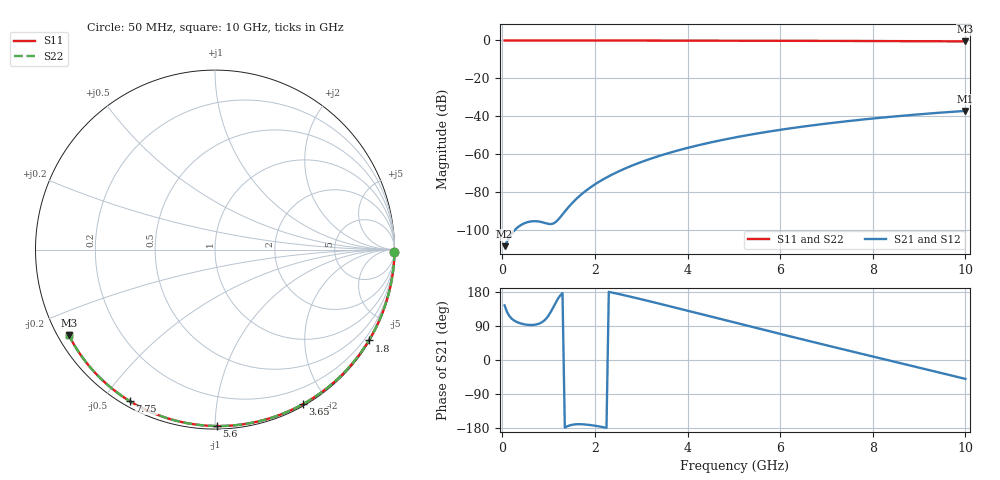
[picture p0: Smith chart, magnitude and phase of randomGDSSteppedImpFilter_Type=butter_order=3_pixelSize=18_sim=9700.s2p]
! freq	dB(S11)	phase(S11)	dB(S12)	phase(S12)
!  dB(S21)	phase(S21)	dB(S22)	phase(S22)
!S-par simulation data
#  GHz  S  DB  R 50
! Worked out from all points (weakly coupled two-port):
!   200 points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, 50 MHz to 10 GHz, reference 50 ohm
!   highest |S21| = -37.17 dB at 10 GHz (marker M1); lowest = -108.5 dB at 50 MHz (marker M2)
!   lowest |S11| = -0.5 dB at 10 GHz (marker M3), VSWR 34.53, Z = 1.55 - j13.5 ohm
!   |S11| at or under -10 dB: nowhere
!   |S22| runs from -0.5 to 0.0 dB; largest |S21 - S12| = 0
!   S11 on the Smith chart (normalised r, x): 50 MHz: open; 1.8 GHz: 0.03, -3.66; 3.65 GHz: 0.02, -1.72; 5.6 GHz: 0.02, -1.01; 7.75 GHz: 0.02, -0.59; 10 GHz: 0.03, -0.27
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0.05  -0.00 -0.9  -108.53 144.1  -108.53 144.1  -0.00 -0.9
0.45  -0.01 -7.8  -96.76 94.8  -96.76 94.8  -0.01 -7.8
0.9  -0.02 -15.4  -96.16 103.6  -96.16 103.6  -0.02 -15.4
1.75  -0.04 -29.7  -80.35 -169.8  -80.35 -169.8  -0.04 -29.7
1.8  -0.04 -30.5  -79.37 -170.3  -79.37 -170.3  -0.04 -30.5
1.95  -0.04 -33.0  -76.73 -172.5  -76.73 -172.5  -0.04 -33.0
2.1  -0.05 -35.5  -74.40 -175.4  -74.40 -175.4  -0.05 -35.5
2.3  -0.05 -38.8  -71.64 179.8  -71.64 179.8  -0.05 -38.8
2.5  -0.05 -42.0  -69.21 174.6  -69.21 174.6  -0.05 -42.0
2.9  -0.06 -48.5  -65.06 163.3  -65.06 163.3  -0.06 -48.5
3.4  -0.07 -56.4  -60.82 148.4  -60.82 148.4  -0.07 -56.4
3.65  -0.08 -60.3  -59.00 140.8  -59.00 140.8  -0.08 -60.3
4.3  -0.10 -70.3  -54.90 121.0  -54.90 121.0  -0.10 -70.3
5.05  -0.13 -81.5  -51.05 97.9  -51.05 97.9  -0.13 -81.5
5.6  -0.15 -89.5  -48.68 81.1  -48.68 81.1  -0.15 -89.5
6.15  -0.17 -97.3  -46.60 64.4  -46.60 64.4  -0.17 -97.3
6.7  -0.20 -105.0  -44.77 47.8  -44.77 47.8  -0.20 -105.0
7.2  -0.24 -111.8  -43.28 32.9  -43.28 32.9  -0.24 -111.8
7.75  -0.28 -119.3  -41.80 16.6  -41.80 16.6  -0.28 -119.3
8.35  -0.33 -127.4  -40.36 -1.1  -40.36 -1.1  -0.33 -127.4
9.2  -0.41 -138.8  -38.57 -26.1  -38.57 -26.1  -0.41 -138.8
10  -0.50 -149.7  -37.17 -49.8  -37.17 -49.8  -0.50 -149.7
